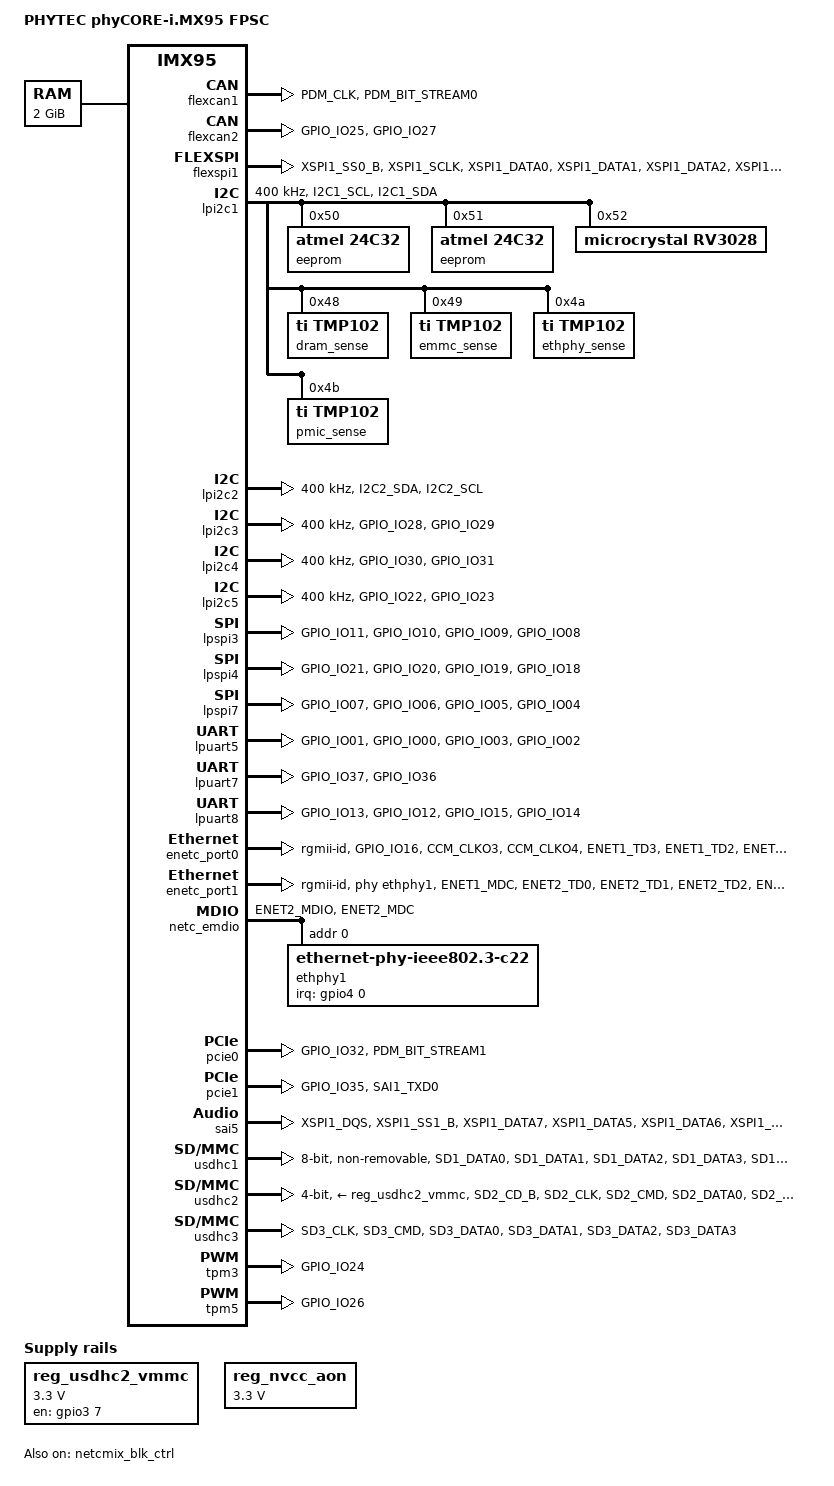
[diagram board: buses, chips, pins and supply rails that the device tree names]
// SPDX-License-Identifier: (GPL-2.0+ OR MIT)
/*
 * Copyright 2025 PHYTEC Messtechnik GmbH
 */

#include <dt-bindings/net/ti-dp83867.h>
#include "imx95.dtsi"

/ {
	model = "PHYTEC phyCORE-i.MX95 FPSC";
	compatible = "phytec,imx95-phycore-fpsc", "fsl,imx95";

	aliases {
		ethernet1 = &enetc_port1;
		rtc0 = &rv3028;
		rtc1 = &scmi_bbm;
	};

	memory@80000000 {
		device_type = "memory";
		reg = <0x00000000 0x80000000 0x00000000 0x80000000>;
	};

	reg_usdhc2_vmmc: regulator-usdhc2 {
		compatible = "regulator-fixed";
		pinctrl-names = "default";
		pinctrl-0 = <&pinctrl_reg_usdhc2_vmmc>;
		regulator-name = "VDDSW_SD2";
		regulator-min-microvolt = <3300000>;
		regulator-max-microvolt = <3300000>;
		gpio = <&gpio3 7 GPIO_ACTIVE_HIGH>;
		enable-active-high;
		off-on-delay-us = <12000>;
	};

	reg_nvcc_aon: regulator-nvcc-aon {
		compatible = "regulator-fixed";
		regulator-always-on;
		regulator-boot-on;
		regulator-max-microvolt = <3300000>;
		regulator-min-microvolt = <3300000>;
		regulator-name = "VDD_IO";
	};

	reserved-memory {
		#address-cells = <2>;
		#size-cells = <2>;
		ranges;

		linux,cma {
			compatible = "shared-dma-pool";
			alloc-ranges = <0 0x80000000 0 0x7f000000>;
			size = <0 0x3c000000>;
			linux,cma-default;
			reusable;
		};

		vpu_boot: vpu_boot@a0000000 {
			reg = <0 0xe0000000 0 0x100000>;
			no-map;
		};
	};
};

&flexcan1 { /* CAN1 */
	pinctrl-names = "default";
	pinctrl-0 = <&pinctrl_flexcan1>;
};

&flexcan2 { /* CAN2 */
	pinctrl-names = "default";
	pinctrl-0 = <&pinctrl_flexcan2>;
};

&flexspi1 { /* QSPI */
	pinctrl-names = "default";
	pinctrl-0 = <&pinctrl_flexspi>;
};

&gpio1 {
	pinctrl-names = "default";
	pinctrl-0 = <&pinctrl_gpio1>;
	gpio-line-names = "", "", "", "", "GPIO2",
			  "GPIO1", "", "", "", "",
			  "", "USB1_PWR_EN", "GPIO3", "USB2_PWR_EN";
	status = "okay";
};

&gpio2 {
	pinctrl-names = "default";
	pinctrl-0 = <&pinctrl_gpio2>;
	gpio-line-names = "", "", "", "", "",
			  "", "", "", "", "",
			  "", "", "", "", "",
			  "", "RGMII2_nINT", "GPIO4";
};

&gpio3 {
	gpio-line-names = "", "", "", "", "",
			  "", "", "SD2_RESET_B";
};

&gpio4 {
	gpio-line-names = "ENET2_nINT";
};

&gpio5 {
	gpio-line-names = "", "", "", "", "",
			  "", "", "", "", "",
			  "", "", "", "USB1_OC", "USB2_OC";
};

&jpegenc {
	status = "disabled";
};

&lpi2c1 { /* I2C5 */
	#address-cells = <1>;
	#size-cells = <0>;
	clock-frequency = <400000>;
	pinctrl-names = "default";
	pinctrl-0 = <&pinctrl_lpi2c1>;
	status = "okay";

	/* User EEPROM */
	eeprom@50 {
		compatible = "atmel,24c32";
		reg = <0x50>;
		pagesize = <32>;
	};

	/* Factory EEPROM */
	eeprom@51 {
		compatible = "atmel,24c32";
		reg = <0x51>;
		pagesize = <32>;
	};

	rv3028: rtc@52 {
		compatible = "microcrystal,rv3028";
		reg = <0x52>;
	};

	dram_sense: temperature-sensor@48 {
		compatible = "ti,tmp102";
		reg = <0x48>;
		#thermal-sensor-cells = <1>;
	};

	emmc_sense: temperature-sensor@49 {
		compatible = "ti,tmp102";
		reg = <0x49>;
		#thermal-sensor-cells = <1>;
	};

	ethphy_sense: temperature-sensor@4a {
		compatible = "ti,tmp102";
		reg = <0x4a>;
		#thermal-sensor-cells = <1>;
	 };

	pmic_sense: temperature-sensor@4b {
		compatible = "ti,tmp102";
		reg = <0x4b>;
		#thermal-sensor-cells = <1>;
	 };
};

&lpi2c2 { /* I2C1 */
	clock-frequency = <400000>;
	pinctrl-names = "default";
	pinctrl-0 = <&pinctrl_lpi2c2>;
};

&lpi2c3 { /* I2C3 */
	clock-frequency = <400000>;
	pinctrl-names = "default";
	pinctrl-0 = <&pinctrl_lpi2c3>;
};

&lpi2c4 { /* I2C4 */
	clock-frequency = <400000>;
	pinctrl-names = "default";
	pinctrl-0 = <&pinctrl_lpi2c4>;
};

&lpi2c5 { /* I2C2 */
	clock-frequency = <400000>;
	pinctrl-names = "default";
	pinctrl-0 = <&pinctrl_lpi2c5>;
};

&lpspi3 { /* SPI2 */
	pinctrl-names = "default";
	pinctrl-0 = <&pinctrl_lpspi3>;
};

&lpspi4 { /* SPI3 */
	pinctrl-names = "default";
	pinctrl-0 = <&pinctrl_lpspi4>;
};

&lpspi7 { /* SPI1 */
	pinctrl-names = "default";
	pinctrl-0 = <&pinctrl_lpspi7>;
};

&lpuart5 { /* UART2 */
	pinctrl-names = "default";
	pinctrl-0 = <&pinctrl_lpuart5>;
};

&lpuart7 { /* UART3 */
	pinctrl-names = "default";
	pinctrl-0 = <&pinctrl_lpuart7>;
};

&lpuart8 { /* UART1 */
	pinctrl-names = "default";
	pinctrl-0 = <&pinctrl_lpuart8>;
};

&enetc_port0 { /* RGMII2 */
	pinctrl-names = "default";
	pinctrl-0 = <&pinctrl_enetc0>;
	phy-mode = "rgmii-id";
};

&enetc_port1 {
        pinctrl-names = "default";
        pinctrl-0 = <&pinctrl_enetc1>;
        phy-handle = <&ethphy1>;
        phy-mode = "rgmii-id";
        status = "okay";
};

&netc_emdio { /* RGMII2 */
	pinctrl-names = "default";
	pinctrl-0 = <&pinctrl_emdio>;
	status = "okay";

	ethphy1: ethernet-phy@0 {
		compatible = "ethernet-phy-ieee802.3-c22";
		reg = <0x0>;
		interrupt-parent = <&gpio4>;
		interrupts = <0 IRQ_TYPE_LEVEL_LOW>;
		ti,rx-internal-delay = <DP83867_RGMIIDCTL_2_00_NS>;
		ti,tx-internal-delay = <DP83867_RGMIIDCTL_2_00_NS>;
		ti,fifo-depth = <DP83867_PHYCR_FIFO_DEPTH_4_B_NIB>;
		ti,clk-output-sel = <DP83867_CLK_O_SEL_OFF>;
		enet-phy-lane-no-swap;
	};
};

&netc_prb_ierb {
	netc-interfaces = <NXP_NETC_RGMII
			   NXP_NETC_RGMII
			   NXP_NETC_SERIAL>;
};

&netcmix_blk_ctrl {
	status = "okay";
};

&pcie0 { /* PCIE1 */
	pinctrl-names = "default";
	pinctrl-0 = <&pinctrl_pcie0>;
};

&pcie1 { /* PCIE2 */
	pinctrl-names = "default";
	pinctrl-0 = <&pinctrl_pcie1>;
};

&sai5 {	/* SAI1 */
	pintrc-names = "default";
	pinctrl-0 = <&pinctrl_sai5>;
};

&scmi_iomuxc {
	pinctrl_emdio: emdiogrp {
		fsl,pins = <
			IMX95_PAD_ENET2_MDIO__NETCMIX_TOP_NETC_MDIO	0x97e	/* RGMII2_MDIO */
			IMX95_PAD_ENET2_MDC__NETCMIX_TOP_NETC_MDC	0x502	/* RGMII2_MDC */
		>;
	};

	pinctrl_enetc0: enetc0grp {
		fsl,pins = <
			IMX95_PAD_GPIO_IO16__GPIO2_IO_BIT16			0x31e	/* RGMII2_nINT */
			IMX95_PAD_CCM_CLKO3__NETCMIX_TOP_NETC_TMR_1588_TRIG2	0x31e	/* RGMII2_EVENT_IN */
			IMX95_PAD_CCM_CLKO4__NETCMIX_TOP_NETC_TMR_1588_PP2	0x31e	/* RGMII2_EVENT_OUT */

			IMX95_PAD_ENET1_TD3__NETCMIX_TOP_ETH0_RGMII_TD3		0x57e	/* RGMII2_TX_3 */
			IMX95_PAD_ENET1_TD2__NETCMIX_TOP_ETH0_RGMII_TD2		0x57e	/* RGMII2_TX_2 */
			IMX95_PAD_ENET1_TD1__NETCMIX_TOP_ETH0_RGMII_TD1		0x57e	/* RGMII2_TX_1 */
			IMX95_PAD_ENET1_TD0__NETCMIX_TOP_ETH0_RGMII_TD0		0x57e	/* RGMII2_TX_0 */
			IMX95_PAD_ENET1_TX_CTL__NETCMIX_TOP_ETH0_RGMII_TX_CTL	0x57e	/* RGMII2_TX_CTL */
			IMX95_PAD_ENET1_TXC__NETCMIX_TOP_ETH0_RGMII_TX_CLK	0x58e	/* RGMII2_TXC */
			IMX95_PAD_ENET1_RD3__NETCMIX_TOP_ETH0_RGMII_RD3		0x57e	/* RGMII2_RX_3 */
			IMX95_PAD_ENET1_RD2__NETCMIX_TOP_ETH0_RGMII_RD2		0x57e	/* RGMII2_RX_2 */
			IMX95_PAD_ENET1_RD1__NETCMIX_TOP_ETH0_RGMII_RD1		0x57e	/* RGMII2_RX_1 */
			IMX95_PAD_ENET1_RD0__NETCMIX_TOP_ETH0_RGMII_RD0		0x57e	/* RGMII2_RX_0 */
			IMX95_PAD_ENET1_RX_CTL__NETCMIX_TOP_ETH0_RGMII_RX_CTL	0x57e	/* RGMII2_RX_CTL */
			IMX95_PAD_ENET1_RXC__NETCMIX_TOP_ETH0_RGMII_RX_CLK	0x58e	/* RGMII2_RXC */
		>;
	};

	pinctrl_enetc1: enetc1grp {
		fsl,pins = <
			IMX95_PAD_ENET1_MDC__GPIO4_IO_BIT0			0x31e
			IMX95_PAD_ENET2_TD0__NETCMIX_TOP_ETH1_RGMII_TD0		0x57e
			IMX95_PAD_ENET2_TD1__NETCMIX_TOP_ETH1_RGMII_TD1		0x57e
			IMX95_PAD_ENET2_TD2__NETCMIX_TOP_ETH1_RGMII_TD2		0x57e
			IMX95_PAD_ENET2_TD3__NETCMIX_TOP_ETH1_RGMII_TD3		0x57e
			IMX95_PAD_ENET2_TX_CTL__NETCMIX_TOP_ETH1_RGMII_TX_CTL	0x57e
			IMX95_PAD_ENET2_TXC__NETCMIX_TOP_ETH1_RGMII_TX_CLK	0x58e
			IMX95_PAD_ENET2_RD0__NETCMIX_TOP_ETH1_RGMII_RD0		0x57e
			IMX95_PAD_ENET2_RD1__NETCMIX_TOP_ETH1_RGMII_RD1		0x57e
			IMX95_PAD_ENET2_RD2__NETCMIX_TOP_ETH1_RGMII_RD2		0x57e
			IMX95_PAD_ENET2_RD3__NETCMIX_TOP_ETH1_RGMII_RD3		0x57e
			IMX95_PAD_ENET2_RX_CTL__NETCMIX_TOP_ETH1_RGMII_RX_CTL	0x57e
			IMX95_PAD_ENET2_RXC__NETCMIX_TOP_ETH1_RGMII_RX_CLK	0x58e
		>;
	};

	pinctrl_flexcan1: flexcan1grp {
		fsl,pins = <
			IMX95_PAD_PDM_CLK__AONMIX_TOP_CAN1_TX		0x51e	/* CAN1_TX */
			IMX95_PAD_PDM_BIT_STREAM0__AONMIX_TOP_CAN1_RX	0x51e	/* CAN1_RX */
		>;
	};

	pinctrl_flexcan2: flexcan2grp {
		fsl,pins = <
			IMX95_PAD_GPIO_IO25__CAN2_TX	0x51e	/* CAN2_TX */
			IMX95_PAD_GPIO_IO27__CAN2_RX	0x51e	/* CAN2_RX */
		>;
	};

	pinctrl_flexspi: flexspigrp {
		fsl,pins = <
			IMX95_PAD_XSPI1_SS0_B__FLEXSPI1_A_SS0_B		0x3fe	/* QSPI_CE */
			IMX95_PAD_XSPI1_SCLK__FLEXSPI1_A_SCLK		0x3fe	/* QSPI_CLK */
			IMX95_PAD_XSPI1_DATA0__FLEXSPI1_A_DATA_BIT0	0x3fe	/* QSPI_DATA_0 */
			IMX95_PAD_XSPI1_DATA1__FLEXSPI1_A_DATA_BIT1	0x3fe	/* QSPI_DATA_1 */
			IMX95_PAD_XSPI1_DATA2__FLEXSPI1_A_DATA_BIT2	0x3fe	/* QSPI_DATA_2 */
			IMX95_PAD_XSPI1_DATA3__FLEXSPI1_A_DATA_BIT3	0x3fe	/* QSPI_DATA_3 */
			IMX95_PAD_XSPI1_DQS__FLEXSPI1_A_DQS		0x3fe	/* QSPI_DQS */
		>;
	};

	pinctrl_gpio1: gpio1grp {
		fsl,pins = <
			IMX95_PAD_UART1_TXD__AONMIX_TOP_GPIO1_IO_BIT5	0x31e	/* GPIO1 */
			IMX95_PAD_UART1_RXD__AONMIX_TOP_GPIO1_IO_BIT4	0x31e	/* GPIO2 */
			IMX95_PAD_SAI1_TXC__AONMIX_TOP_GPIO1_IO_BIT12	0x31e	/* GPIO3 */
		>;
	};

	pinctrl_gpio2: gpio2grp {
		fsl,pins = <
			IMX95_PAD_GPIO_IO17__GPIO2_IO_BIT17	0x31e	/* GPIO4 */
		>;
	};

	pinctrl_lpi2c1: lpi2cgrp {
		fsl,pins = <
			IMX95_PAD_I2C1_SCL__AONMIX_TOP_LPI2C1_SCL	0x40000b9e	/* I2C5_SCL */
			IMX95_PAD_I2C1_SDA__AONMIX_TOP_LPI2C1_SDA	0x40000b9e	/* I2C5_SDA */
		>;
	};

	pinctrl_lpi2c2: lpi2c2grp {
		fsl,pins = <
			IMX95_PAD_I2C2_SDA__AONMIX_TOP_LPI2C2_SDA	0x40000b9e	/* I2C1_SDA_DNU */
			IMX95_PAD_I2C2_SCL__AONMIX_TOP_LPI2C2_SCL	0x40000b9e	/* I2C1_SCL_DNU */
		>;
	};

	pinctrl_lpi2c3: lpi2c3grp {
		fsl,pins = <
			IMX95_PAD_GPIO_IO28__LPI2C3_SDA 0x40000b9e	/* I2C3_SDA */
			IMX95_PAD_GPIO_IO29__LPI2C3_SCL 0x40000b9e	/* I2C3_SCL */
		>;
	};

	pinctrl_lpi2c4: lpi2c4grp {
		fsl,pins = <
			IMX95_PAD_GPIO_IO30__LPI2C4_SDA 0x40000b9e	/* I2C4_SDA */
			IMX95_PAD_GPIO_IO31__LPI2C4_SCL 0x40000b9e	/* I2C4_SDL */
		>;
	};

	pinctrl_lpi2c5: lpi2c5grp {
		fsl,pins = <
			IMX95_PAD_GPIO_IO22__LPI2C5_SDA	0x40000b9e	/* I2C2_SDA */
			IMX95_PAD_GPIO_IO23__LPI2C5_SCL 0x40000b9e	/* I2C2_SCL */
		>;
	};

	pinctrl_lpspi3: lpspi3grp {
		fsl,pins = <
			IMX95_PAD_GPIO_IO11__LPSPI3_SCK		0x51e	/* SPI2_SCLK */
			IMX95_PAD_GPIO_IO10__LPSPI3_SOUT	0x51e	/* SPI2_MOSI */
			IMX95_PAD_GPIO_IO09__LPSPI3_SIN		0x51e	/* SPI2_MISO */
			IMX95_PAD_GPIO_IO08__LPSPI3_PCS0	0x51e	/* SPI2_CS */
		>;
	};

	pinctrl_lpspi4: lpspi4grp {
		fsl,pins = <
			IMX95_PAD_GPIO_IO21__LPSPI4_SCK		0x51e	/* SPI3_SCLK */
			IMX95_PAD_GPIO_IO20__LPSPI4_SOUT	0x51e	/* SPI3_MOSI */
			IMX95_PAD_GPIO_IO19__LPSPI4_SIN		0x51e	/* SPI3_MISO */
			IMX95_PAD_GPIO_IO18__LPSPI4_PCS0	0x51e	/* SPI3_CS */
		>;
	};

	pinctrl_lpspi7: lpspi7grp {
		fsl,pins = <
			IMX95_PAD_GPIO_IO07__LPSPI7_SCK		0x51e	/* SPI1_SCLK */
			IMX95_PAD_GPIO_IO06__LPSPI7_SOUT	0x51e	/* SPI1_MOSI */
			IMX95_PAD_GPIO_IO05__LPSPI7_SIN		0x51e	/* SPI1_MISO */
			IMX95_PAD_GPIO_IO04__LPSPI7_PCS0	0x51e	/* SPI1_CS */
		>;
	};

	pinctrl_lpuart5: lpuart5grp {
		fsl,pins = <
			IMX95_PAD_GPIO_IO01__LPUART5_RX		0x51e	/* UART2_RXD */
			IMX95_PAD_GPIO_IO00__LPUART5_TX		0x51e	/* UART2_TXD */
			IMX95_PAD_GPIO_IO03__LPUART5_RTS_B	0x51e	/* UART2_RTS */
			IMX95_PAD_GPIO_IO02__LPUART5_CTS_B	0x51e	/* UART2_CTS */
		>;
	};

	pinctrl_lpuart7: lpuart7grp {
		fsl,pins = <
			IMX95_PAD_GPIO_IO37__LPUART7_RX	0x31e	/* UART3_RXD */
			IMX95_PAD_GPIO_IO36__LPUART7_TX	0x31e	/* UART3_TXD */
		>;
	};

	pinctrl_lpuart8: lpuart8grp {
		fsl,pins = <
			IMX95_PAD_GPIO_IO13__LPUART8_RX		0x51e	/* UART1_RXD */
			IMX95_PAD_GPIO_IO12__LPUART8_TX		0x51e	/* UART1_TXD */
			IMX95_PAD_GPIO_IO15__LPUART8_RTS_B	0x51e	/* UART1_RTS */
			IMX95_PAD_GPIO_IO14__LPUART8_CTS_B	0x51e	/* UART1_CTS */
		>;
	};

	pinctrl_pcie0: pcie0grp {
		fsl,pins = <
			IMX95_PAD_GPIO_IO32__HSIOMIX_TOP_PCIE1_CLKREQ_B		0x31e	/* PCIE1_nCLKREQ */
			IMX95_PAD_PDM_BIT_STREAM1__AONMIX_TOP_GPIO1_IO_BIT10	0x31e	/* PCIE1_nPERST */
		>;
	};

	pinctrl_pcie1: pcie1grp {
		fsl,pins = <
			IMX95_PAD_GPIO_IO35__HSIOMIX_TOP_PCIE2_CLKREQ_B	0x31e	/* PCIE2_nCLKREQ */
			IMX95_PAD_SAI1_TXD0__AONMIX_TOP_GPIO1_IO_BIT13	0x31e	/* PCIE2_nPERST */
		>;
	};

	pinctrl_reg_usdhc2_vmmc: regusdhc2vmmcgrp {
		fsl,pins = <
			IMX95_PAD_SD2_RESET_B__GPIO3_IO_BIT7	0x31e
		>;
	};

	pinctrl_sai5: sai5grp {
		fsl,pins = <
			IMX95_PAD_XSPI1_DQS__SAI5_RX_SYNC		0x51e	/* SAI1_RX_SYNC */
			IMX95_PAD_XSPI1_SS1_B__SAI5_RX_BCLK		0x51e	/* SAI1_RX_BCLK */
			IMX95_PAD_XSPI1_DATA7__SAI5_RX_DATA_BIT0	0x51e	/* SAI1_RX_DATA */
			IMX95_PAD_XSPI1_DATA5__SAI5_TX_SYNC		0x51e	/* SAI1_TX_SYNC */
			IMX95_PAD_XSPI1_DATA6__SAI5_TX_BCLK		0x51e	/* SAI1_TX_BCLK */
			IMX95_PAD_XSPI1_DATA4__SAI5_TX_DATA_BIT0	0x51e	/* SAI1_TX_DATA */
		>;
	};

	pinctrl_tpm3: tpm3grp {
	      fsl,pins = <
		      IMX95_PAD_GPIO_IO24__TPM3_CH3	0x51e	/* PWM1 */
	      >;
	};

	pinctrl_tpm5: tpm5grp {
	      fsl,pins = <
		      IMX95_PAD_GPIO_IO26__TPM5_CH3	0x51e	/* PWM2 */
	      >;
	};

	/*
	 * usb2 <=> USB 2.0 <=> USB2 PAD
	 * pinctrl not used on SoM
	 */
	pinctrl_usb2: usb2grp {
		fsl,pins = <
			IMX95_PAD_SAI1_TXD0__AONMIX_TOP_GPIO1_IO_BIT13	0x51e	/* USB2_PWR_EN */
			IMX95_PAD_GPIO_IO34__GPIO5_IO_BIT14		0x51e	/* USB2_OC */
		>;
	};

	/*
	 * usb3 <=> USB 3.0 <=> USB1 PAD
	 * pinctrl not used on SoM
	 */
	pinctrl_usb3: usb3grp {
		fsl,pins = <
			IMX95_PAD_SAI1_TXFS__AONMIX_TOP_GPIO1_IO_BIT11	0x51e	/* USB1_PWR_EN */
			IMX95_PAD_GPIO_IO33__GPIO5_IO_BIT13		0x51e	/* USB1_OC */
		>;
	};

	pinctrl_usdhc1: usdhc1grp {
		fsl,pins = <
			IMX95_PAD_SD1_DATA0__USDHC1_DATA0		0x138e
			IMX95_PAD_SD1_DATA1__USDHC1_DATA1		0x138e
			IMX95_PAD_SD1_DATA2__USDHC1_DATA2		0x138e
			IMX95_PAD_SD1_DATA3__USDHC1_DATA3		0x138e
			IMX95_PAD_SD1_DATA4__USDHC1_DATA4		0x138e
			IMX95_PAD_SD1_DATA5__USDHC1_DATA5		0x138e
			IMX95_PAD_SD1_DATA6__USDHC1_DATA6		0x138e
			IMX95_PAD_SD1_DATA7__USDHC1_DATA7		0x138e
			IMX95_PAD_SD1_CMD__USDHC1_CMD			0x138e
			IMX95_PAD_SD1_CLK__USDHC1_CLK			0x158e
			IMX95_PAD_SD1_STROBE__USDHC1_STROBE		0x158e
		>;
	};

	pinctrl_usdhc1_100mhz: usdhc1-100mhzgrp {
		fsl,pins = <
			IMX95_PAD_SD1_DATA0__USDHC1_DATA0		0x138e
			IMX95_PAD_SD1_DATA1__USDHC1_DATA1		0x138e
			IMX95_PAD_SD1_DATA2__USDHC1_DATA2		0x138e
			IMX95_PAD_SD1_DATA3__USDHC1_DATA3		0x138e
			IMX95_PAD_SD1_DATA4__USDHC1_DATA4		0x138e
			IMX95_PAD_SD1_DATA5__USDHC1_DATA5		0x138e
			IMX95_PAD_SD1_DATA6__USDHC1_DATA6		0x138e
			IMX95_PAD_SD1_DATA7__USDHC1_DATA7		0x138e
			IMX95_PAD_SD1_CMD__USDHC1_CMD			0x138e
			IMX95_PAD_SD1_CLK__USDHC1_CLK			0x158e
			IMX95_PAD_SD1_STROBE__USDHC1_STROBE		0x158e
		>;
	};

	pinctrl_usdhc1_200mhz: usdhc1-200mhzgrp {
		fsl,pins = <
			IMX95_PAD_SD1_DATA0__USDHC1_DATA0		0x13fe
			IMX95_PAD_SD1_DATA1__USDHC1_DATA1		0x13fe
			IMX95_PAD_SD1_DATA2__USDHC1_DATA2		0x13fe
			IMX95_PAD_SD1_DATA3__USDHC1_DATA3		0x13fe
			IMX95_PAD_SD1_DATA4__USDHC1_DATA4		0x13fe
			IMX95_PAD_SD1_DATA5__USDHC1_DATA5		0x13fe
			IMX95_PAD_SD1_DATA6__USDHC1_DATA6		0x13fe
			IMX95_PAD_SD1_DATA7__USDHC1_DATA7		0x13fe
			IMX95_PAD_SD1_CMD__USDHC1_CMD			0x13fe
			IMX95_PAD_SD1_CLK__USDHC1_CLK			0x15fe
			IMX95_PAD_SD1_STROBE__USDHC1_STROBE		0x15fe
		>;
	};

	pinctrl_usdhc2: usdhc2grp {
		fsl,pins = <
			IMX95_PAD_SD2_CD_B__USDHC2_CD_B		0x31e	/* CD */
			IMX95_PAD_SD2_CLK__USDHC2_CLK		0x158e	/* CLK */
			IMX95_PAD_SD2_CMD__USDHC2_CMD		0x138e	/* CMD */
			IMX95_PAD_SD2_DATA0__USDHC2_DATA0	0x138e	/* DATA0 */
			IMX95_PAD_SD2_DATA1__USDHC2_DATA1	0x138e	/* DATA1 */
			IMX95_PAD_SD2_DATA2__USDHC2_DATA2	0x138e	/* DATA2 */
			IMX95_PAD_SD2_DATA3__USDHC2_DATA3	0x138e	/* DATA3 */
			IMX95_PAD_SD2_VSELECT__USDHC2_VSELECT	0x51e

		>;
	};

	pinctrl_usdhc2_100mhz: usdhc2-100mhzgrp {
		fsl,pins = <
			IMX95_PAD_SD2_CD_B__USDHC2_CD_B		0x31e	/* CD */
			IMX95_PAD_SD2_CLK__USDHC2_CLK		0x158e	/* CLK */
			IMX95_PAD_SD2_CMD__USDHC2_CMD		0x138e	/* CMD */
			IMX95_PAD_SD2_DATA0__USDHC2_DATA0	0x138e	/* DATA0 */
			IMX95_PAD_SD2_DATA1__USDHC2_DATA1	0x138e	/* DATA1 */
			IMX95_PAD_SD2_DATA2__USDHC2_DATA2	0x138e	/* DATA2 */
			IMX95_PAD_SD2_DATA3__USDHC2_DATA3	0x138e	/* DATA3 */
			IMX95_PAD_SD2_VSELECT__USDHC2_VSELECT	0x51e
		>;
	};

	pinctrl_usdhc2_200mhz: usdhc2-200mhzgrp {
		fsl,pins = <
			IMX95_PAD_SD2_CD_B__USDHC2_CD_B		0x31e	/* CD */
			IMX95_PAD_SD2_CLK__USDHC2_CLK		0x15fe	/* CLK */
			IMX95_PAD_SD2_CMD__USDHC2_CMD		0x13fe	/* CMD */
			IMX95_PAD_SD2_DATA0__USDHC2_DATA0	0x13fe	/* DATA0 */
			IMX95_PAD_SD2_DATA1__USDHC2_DATA1	0x13fe	/* DATA1 */
			IMX95_PAD_SD2_DATA2__USDHC2_DATA2	0x13fe	/* DATA2 */
			IMX95_PAD_SD2_DATA3__USDHC2_DATA3	0x13fe	/* DATA3 */
			IMX95_PAD_SD2_VSELECT__USDHC2_VSELECT	0x51e
		>;
	};

	pinctrl_usdhc3: usdhc3grp {
		fsl,pins = <
			IMX95_PAD_SD3_CLK__USDHC3_CLK		0x158e	/* SDIO_CLK */
			IMX95_PAD_SD3_CMD__USDHC3_CMD		0x138e	/* SDIO_CMD */
			IMX95_PAD_SD3_DATA0__USDHC3_DATA0	0x138e	/* SDIO_DATA0 */
			IMX95_PAD_SD3_DATA1__USDHC3_DATA1	0x138e	/* SDIO_DATA1 */
			IMX95_PAD_SD3_DATA2__USDHC3_DATA2	0x138e	/* SDIO_DATA2 */
			IMX95_PAD_SD3_DATA3__USDHC3_DATA3	0x138e	/* SDIO_DATA3 */
		>;
	};
};

&usdhc1 {
	pinctrl-names = "default", "state_100mhz", "state_200mhz", "sleep";
	pinctrl-0 = <&pinctrl_usdhc1>;
	pinctrl-1 = <&pinctrl_usdhc1_100mhz>;
	pinctrl-2 = <&pinctrl_usdhc1_200mhz>;
	pinctrl-3 = <&pinctrl_usdhc1>;
	bus-width = <8>;
	non-removable;
	no-sdio;
	no-sd;
	status = "okay";
};

&usdhc2 { /* SDCARD */
	pinctrl-names = "default", "state_100mhz", "state_200mhz", "sleep";
	pinctrl-0 = <&pinctrl_usdhc2>;
	pinctrl-1 = <&pinctrl_usdhc2_100mhz>;
	pinctrl-2 = <&pinctrl_usdhc2_200mhz>;
	pinctrl-3 = <&pinctrl_usdhc2>;
	disable-wp;
	sd-uhs-sdr104;
	vmmc-supply = <&reg_usdhc2_vmmc>;
	bus-width = <4>;
};

&usdhc3 { /* SDIO */
	pinctrl-names = "default";
	pinctrl-0 = <&pinctrl_usdhc3>;
};

&vpuctrl {
	boot = <&vpu_boot>;
	sram = <&sram1>;
};

&tpm3 { /* PWM1 */
	pinctrl-names = "default";
	pinctrl-0 = <&pinctrl_tpm3>;
};

&tpm5 {	/* PWM2 */
	pinctrl-names = "default";
	pinctrl-0 = <&pinctrl_tpm5>;
};
